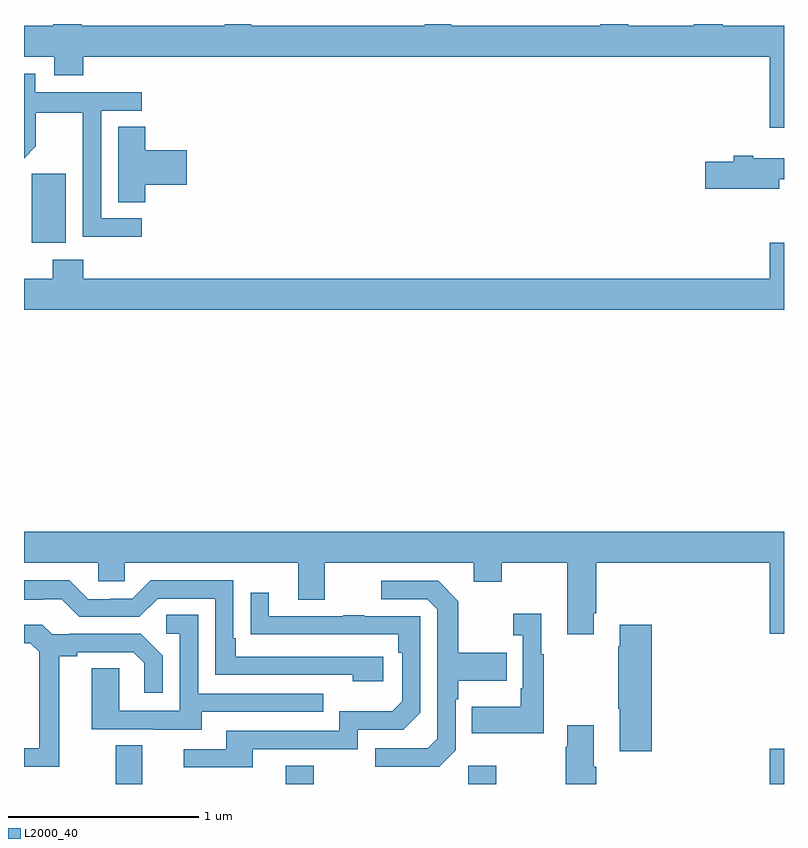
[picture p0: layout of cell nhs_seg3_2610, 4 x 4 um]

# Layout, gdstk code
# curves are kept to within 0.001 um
import gdstk
lib = gdstk.Library(unit=1e-6, precision=1e-09)
def R(c, l, rs):  # rectangles x0, y0, x1, y1
    for r in rs: c.add(gdstk.rectangle(r[:2], r[2:], *l))
def P(c, l, *ps):  # polygons
    for p in ps: c.add(gdstk.Polygon(p, *l))
L2000_40 = (2000, 40)

nhs_seg3_2610 = lib.new_cell('nhs_seg3_2610')
R(nhs_seg3_2610, L2000_40, [(245.483,718.4,245.623,718.604), (246.377,718.4,246.525,718.495), (247.338,718.4,247.485,718.495), (248.924,718.4,249,718.585), (245.042,721.25,245.221,721.611)])
P(nhs_seg3_2610, L2000_40, [(249,722.392),(248.678,722.392),(248.678,722.4),(248.525,722.4),(248.525,722.392),(248.181,722.392),(248.181,722.4),(248.033,722.4),(248.033,722.392),(247.249,722.392),(247.249,722.4),(247.109,722.4),(247.109,722.392),(246.195,722.392),(246.195,722.4),(246.057,722.4),(246.057,722.392),(245.305,722.392),(245.305,722.4),(245.153,722.4),(245.153,722.392),(245,722.392),(245,722.228),(245.159,722.228),(245.159,722.129),(245.312,722.129),(245.312,722.228),(248.924,722.228),(248.924,721.854),(249,721.854)],
  [(245.62,721.377),(245.406,721.377),(245.406,721.944),(245.62,721.944),(245.62,722.04),(245.058,722.04),(245.058,722.137),(245,722.137),(245,721.694),(245.063,721.757),(245.063,721.932),(245.308,721.932),(245.308,721.708),(245.31,721.708),(245.31,721.279),(245.62,721.279)],
  [(245.639,721.553),(245.857,721.553),(245.857,721.736),(245.639,721.736),(245.639,721.859),(245.495,721.859),(245.495,721.462),(245.639,721.462)],
  [(248.974,721.584),(249,721.584),(249,721.693),(248.839,721.693),(248.839,721.706),(248.735,721.706),(248.735,721.676),(248.586,721.676),(248.586,721.534),(248.974,721.534)],
  [(249,721.249),(248.924,721.249),(248.924,721.06),(245.312,721.06),(245.312,721.159),(245.152,721.159),(245.152,721.06),(245,721.06),(245,720.896),(249,720.896)],
  [(247.999,719.299),(248.012,719.299),(248.012,719.564),(248.924,719.564),(248.924,719.19),(249,719.19),(249,719.728),(245,719.728),(245,719.564),(245.391,719.564),(245.391,719.466),(245.529,719.466),(245.529,719.564),(246.443,719.564),(246.443,719.37),(246.583,719.37),(246.583,719.564),(247.367,719.564),(247.367,719.465),(247.515,719.465),(247.515,719.564),(247.859,719.564),(247.859,719.187),(247.999,719.187)],
  [(246.892,719.07),(246.115,719.07),(246.115,719.167),(246.102,719.167),(246.102,719.472),(245.667,719.472),(245.571,719.376),(245.453,719.376),(245.453,719.373),(245.337,719.373),(245.237,719.473),(245,719.473),(245,719.369),(245.099,719.369),(245.099,719.373),(245.199,719.373),(245.292,719.28),(245.607,719.28),(245.703,719.376),(246.006,719.376),(246.006,718.974),(246.731,718.974),(246.731,718.94),(246.892,718.94)],
  [(247.272,718.578),(247.272,718.847),(247.285,718.847),(247.285,718.943),(247.541,718.943),(247.541,719.091),(247.285,719.091),(247.285,719.363),(247.179,719.469),(246.879,719.469),(246.879,719.373),(247.122,719.373),(247.176,719.319),(247.176,718.638),(247.125,718.587),(246.849,718.587),(246.849,718.491),(247.185,718.491)],
  [(246.205,718.584),(246.756,718.584),(246.756,718.686),(246.996,718.686),(247.086,718.776),(247.086,719.283),(246.791,719.283),(246.791,719.288),(246.679,719.288),(246.679,719.283),(246.289,719.283),(246.289,719.407),(246.193,719.407),(246.193,719.188),(246.97,719.187),(246.97,719.09),(246.99,719.09),(246.99,718.836),(246.937,718.783),(246.66,718.783),(246.66,718.68),(246.065,718.68),(246.065,718.584),(245.841,718.584),(245.841,718.488),(246.205,718.488)],
  [(247.735,719.083),(247.723,719.083),(247.723,719.296),(247.575,719.296),(247.575,719.183),(247.626,719.183),(247.626,718.903),(247.614,718.903),(247.614,718.807),(247.357,718.807),(247.357,718.667),(247.735,718.667)],
  [(245.935,718.779),(246.575,718.779),(246.575,718.875),(245.916,718.875),(245.916,719.291),(245.748,719.291),(245.748,719.19),(245.82,719.19),(245.82,718.785),(245.502,718.785),(245.502,719.009),(245.357,719.009),(245.357,718.689),(245.681,718.689),(245.681,718.685),(245.935,718.685)],
  [(248.303,719.239),(248.135,719.239),(248.135,719.126),(248.128,719.126),(248.128,718.795),(248.135,718.795),(248.135,718.572),(248.303,718.572)],
  [(245.185,719.072),(245.281,719.072),(245.281,719.094),(245.576,719.094),(245.633,719.037),(245.633,718.881),(245.73,718.881),(245.73,719.074),(245.614,719.19),(245.242,719.19),(245.242,719.187),(245.148,719.187),(245.096,719.239),(245,719.239),(245,719.142),(245.034,719.142),(245.081,719.095),(245.081,718.587),(245,718.587),(245,718.491),(245.185,718.491)],
  [(248.012,718.492),(247.999,718.492),(247.999,718.708),(247.859,718.708),(247.859,718.595),(247.852,718.595),(247.852,718.4),(248.012,718.4)])

lib.write_gds('nhs_seg3_2610.gds')
